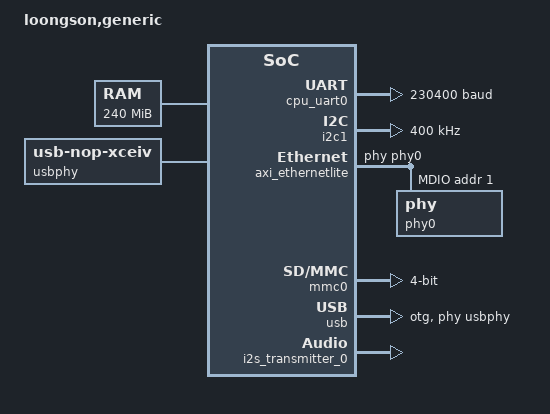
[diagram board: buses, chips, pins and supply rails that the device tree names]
/dts-v1/;
/{
    model = "loongson,generic";
    compatible = "loongson,loongson3";
    #address-cells = <1>;
    #size-cells = <1>;

    aliases {
        serial0 = &cpu_uart0;
        mmc0 = &mmc0;
    };

    chosen {
        stdout-path = "serial0:230400n8";
        bootargs = "earlycon";
        ranges;
        framebuffer: framebuffer@7800000 {
            compatible = "simple-framebuffer";
            reg = <0xf000000 (800 * 600 * 2 * 4)>;
            width = <800>;
            height = <600>;
            stride = <(800 * 2)>;
            format = "r5g6b5";
        }; 
    };

	socclk: socclk {
		compatible = "fixed-clock";
		clock-frequency = <133333333>;
		#clock-cells = <0>;
	};

	i2sclk: i2sclk {
		compatible = "fixed-clock";
		clock-frequency = <24576000>;
		#clock-cells = <0>;
	};

    memory {
        name = "memory";
        device_type = "memory";
        reg =  <0x00000000  0x0f000000>;
    };

	cpuic: interrupt-controller {
	    compatible = "loongson,cpu-interrupt-controller";
        interrupt-controller;
		#interrupt-cells = <1>;
	};

	soc {
		compatible = "simple-bus";
		#address-cells = <1>;
		#size-cells = <1>;
		ranges = <0x10000000 0x10000000 0x10000000>;

        axi_intc_0: interrupt-controller@1d060000 {
                #interrupt-cells = <1>;
                compatible = "xlnx,xps-intc-1.00.a";
                interrupt-controller;
                interrupt-parent = <&cpuic>;
                interrupts = <2>;
                reg = <0x1d060000 0x1000>;
                xlnx,kind-of-intr = <0x1>;
                xlnx,num-intr-inputs = <0x8>;
        };

        cpu_uart0: serial@0x1d010000 {
		    device_type = "serial";
		    compatible = "ns16550a";
		    reg = <0x1d010000 0x1000>;
            clock-frequency = <133333333>;
		    reg-offset = <0x0000>;
		    reg-io-width = <1>;
		    reg-shift = <0>;
		    current-speed = <230400>;
            interrupt-parent = <&cpuic>;
		    interrupts = <6>;
        };

        i2c1: i2c@1d020000 {
            compatible = "opencores,i2c-ocores";
            reg = <0x1d020000 0x1000>;
            interrupt-parent = <&axi_intc_0>;
            interrupts = <4>;
            clocks = <&socclk>;
            clock-frequency = <400000>;
            reg-shift = <0>;	/* 8 bit registers */
            reg-io-width = <1>;	/* 8 bit read/write */
        };

        axi_ethernetlite: ethernet@1d050000 {
			compatible = "xlnx,xps-ethernetlite-3.00.a";
			device_type = "network";
			mac-address = [19 98 00 01 00 29];
			phy-handle = <&phy0>;
			reg = <0x1d050000 0x10000>;
			xlnx,duplex = <0x1>;
			xlnx,include-global-buffers = <0x1>;
			xlnx,include-internal-loopback = <0x0>;
			xlnx,include-mdio = <0x1>;
			xlnx,instance = "axi_ethernetlite_inst";
			xlnx,rx-ping-pong = <0x1>;
			xlnx,s-axi-id-width = <0x1>;
			xlnx,tx-ping-pong = <0x1>;
			xlnx,use-internal = <0x0>;
			interrupt-parent = <&axi_intc_0>;
			interrupts = <0>;
			mdio {
				#address-cells = <1>;
				#size-cells = <0>;
				phy0: phy@1 {
					device_type = "ethernet-phy";
					reg = <1>;
				} ;
			} ;
		} ;

        mmc0: mmc@1d070000 {
			compatible = "riscv,axi-sd-card-1.0";
			clock = <100000000>;
			reg = <0x1d070000 0x64>;
			fifo-depth = <256>;
			bus-width = <4>;
			max-frequency = <25000000>;
            interrupt-parent = <&cpuic>;
			interrupts = <7>;
            cap-sd-highspeed;
            cap-mmc-highspeed;
            cap-mmc-hw-reset;
            no-sdio;
		};

		usbphy: usbphy {
			#phy-cells = <0>;
			compatible = "usb-nop-xceiv";
			status = "okay";
		};
		usb: usb@1d100000 {
			compatible = "snps,dwc2";
			reg = <0x1d100000 0x40000>;
			interrupt-parent = <&axi_intc_0>;
			interrupts = <2>;
            clocks = <&socclk>;
			clock-names = "otg";
            phys = <&usbphy>;
            phy-names = "usb2-phy";
            dr_mode = "otg";
			status = "okay";
		};

        audio_ss_0_audio_formatter_0: audio_formatter@1d0b0000 {
            compatible = "xlnx,audio-formatter-1.0";
            interrupt-names = "irq_mm2s";
            interrupt-parent = <&cpuic>;
            interrupts = <4>;
            reg = <0x1d0b0000 0x1000>;
            xlnx,tx = <&i2s_transmitter_0>;
            // xlnx,rx = <&i2s_receiver>;
            clock-names = "s_axi_lite_aclk", "m_axis_mm2s_aclk", "aud_mclk";
            clocks = <&socclk>, <&socclk>, <&i2sclk>;
        };

        i2s_transmitter_0: i2s_transmitter@1d0c0000 {
            compatible = "xlnx,i2s-transmitter-1.0";
            clock-names = "s_axi_ctrl_aclk", "aud_mclk", "s_axis_aud_aclk";
            clocks = <&socclk>, <&i2sclk>, <&socclk>;
            reg = <0x1d0c0000 0x10000>;
            xlnx,dwidth = <0x10>;
            xlnx,num-channels = <1>;
            xlnx,snd-pcm = <&audio_ss_0_audio_formatter_0>;
        };
    };
};

